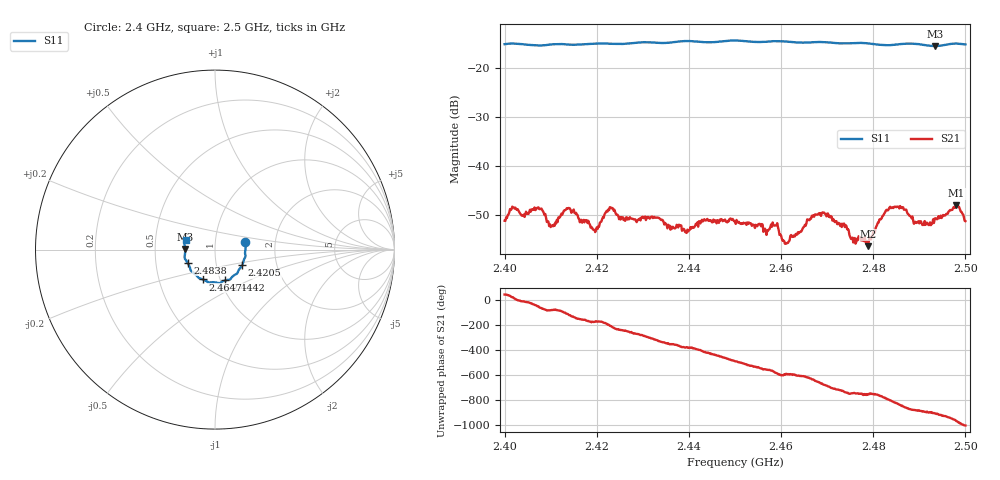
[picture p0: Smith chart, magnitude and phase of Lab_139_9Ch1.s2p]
# Hz S RI R 50
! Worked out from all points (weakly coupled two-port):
!   601 points, 2.4 GHz to 2.5 GHz, reference 50 ohm
!   highest |S21| = -48.03 dB at 2.498 GHz (marker M1); lowest = -56.4 dB at 2.4788 GHz (marker M2)
!   lowest |S11| = -15.6 dB at 2.4935 GHz (marker M3), VSWR 1.40, Z = 35.8 + j0.144 ohm
!   |S11| at or under -10 dB: start of sweep to end of sweep
!   S12 and S22 are empty: the file has one direction only
!   S11 on the Smith chart (normalised r, x): 2.4 GHz: 1.40, +0.12; 2.4205 GHz: 1.33, -0.24; 2.4442 GHz: 1.05, -0.37; 2.4647 GHz: 0.83, -0.29; 2.4838 GHz: 0.73, -0.11; 2.5 GHz: 0.71, +0.08
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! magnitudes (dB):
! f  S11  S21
! 2.4 GHz  -15.2  -51.2
! 2.402 GHz  -15.1  -48.5
! 2.4077 GHz  -15.5  -48.8
! 2.4102 GHz  -15.3  -52.3
! 2.4137 GHz  -15.3  -48.7
! 2.4167 GHz  -15.3  -51.0
! 2.4205 GHz  -15.1  -52.4
! 2.423 GHz  -15.1  -48.5
! 2.4333 GHz  -15.0  -50.6
! 2.4397 GHz  -14.6  -53.0
! 2.4442 GHz  -14.8  -51.2
! 2.45 GHz  -14.5  -51.3
! 2.4587 GHz  -14.6  -52.2
! 2.4612 GHz  -14.7  -55.9
! 2.4647 GHz  -14.9  -52.8
! 2.4667 GHz  -14.9  -50.2
! 2.4788 GHz  -15.1  -56.4
! 2.4833 GHz  -15.4  -48.9
! 2.4838 GHz  -15.4  -48.6
! 2.4935 GHz  -15.6  -50.8
! 2.498 GHz  -15.1  -48.0
! 2.5 GHz  -15.3  -51.3
